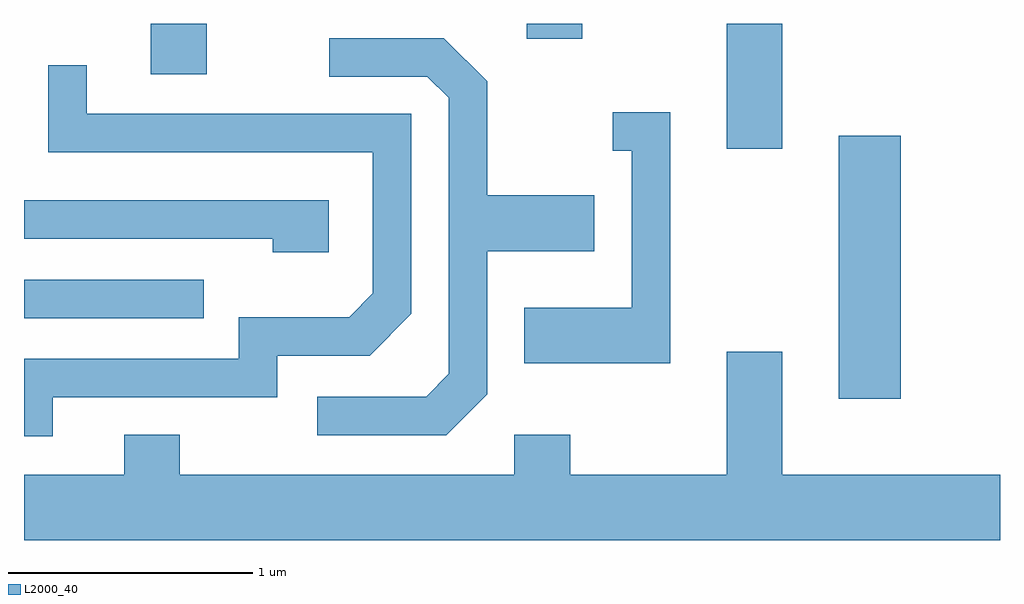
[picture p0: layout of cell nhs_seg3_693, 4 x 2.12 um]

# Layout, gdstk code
import gdstk
lib = gdstk.Library(unit=1e-6, precision=1e-09)
def R(c, l, rs):  # rectangles x0, y0, x1, y1
    for r in rs: c.add(gdstk.rectangle(r[:2], r[2:], *l))
def P(c, l, *ps):  # polygons
    for p in ps: c.add(gdstk.Polygon(p, *l))
L2000_40 = (2000, 40)

nhs_seg3_693 = lib.new_cell('nhs_seg3_693')
R(nhs_seg3_693, L2000_40, [(208.951,1144.356,209.204,1145.434), (205.611,1144.686,206.348,1144.844), (208.491,1145.381,208.719,1145.892), (206.131,1145.686,206.359,1145.892), (207.671,1145.831,207.899,1145.892)])
P(nhs_seg3_693, L2000_40, [(207.509,1144.374),(207.509,1144.961),(207.949,1144.961),(207.949,1145.189),(207.509,1145.189),(207.509,1145.657),(207.332,1145.834),(206.863,1145.834),(206.863,1145.676),(207.264,1145.676),(207.351,1145.589),(207.351,1144.457),(207.259,1144.364),(206.813,1144.364),(206.813,1144.206),(207.342,1144.206)],
  [(205.729,1144.361),(206.649,1144.361),(206.649,1144.531),(207.027,1144.531),(207.199,1144.704),(207.199,1145.524),(205.869,1145.524),(205.869,1145.723),(205.711,1145.723),(205.711,1145.366),(207.041,1145.366),(207.041,1144.787),(206.944,1144.689),(206.491,1144.689),(206.491,1144.519),(205.611,1144.519),(205.611,1144.201),(205.729,1144.201)],
  [(208.259,1145.529),(208.023,1145.529),(208.023,1145.371),(208.101,1145.371),(208.101,1144.729),(207.661,1144.729),(207.661,1144.501),(208.259,1144.501)],
  [(206.859,1145.169),(205.611,1145.169),(205.611,1145.011),(206.631,1145.011),(206.631,1144.956),(206.859,1144.956)],
  [(209.611,1144.044),(208.719,1144.044),(208.719,1144.549),(208.491,1144.549),(208.491,1144.044),(207.849,1144.044),(207.849,1144.209),(207.621,1144.209),(207.621,1144.044),(206.249,1144.044),(206.249,1144.209),(206.021,1144.209),(206.021,1144.044),(205.611,1144.044),(205.611,1143.776),(209.611,1143.776)])

lib.write_gds('nhs_seg3_693.gds')
